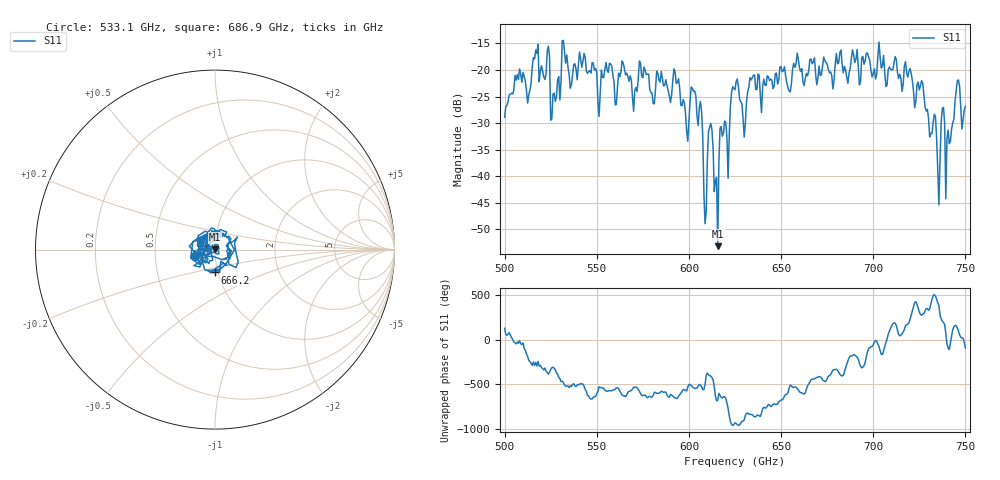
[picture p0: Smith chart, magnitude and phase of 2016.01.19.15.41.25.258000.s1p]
!Created with skrf (http://scikit-rf.org).
# GHz S RI R 50.0
!freq ReS11 ImS11
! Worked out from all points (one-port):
!   401 points, 500 GHz to 750 GHz, reference 50 ohm
!   lowest |S11| = -53.2 dB at 615.6 GHz (marker M1), VSWR 1.00, Z = 50.2 + j0.14 ohm
!   |S11| at or under -10 dB: start of sweep to end of sweep
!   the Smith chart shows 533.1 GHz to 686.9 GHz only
!   S11 on the Smith chart (normalised r, x): 533.1 GHz: 0.80, -0.06; 666.2 GHz: 0.97, -0.25; 686.9 GHz: 0.84, +0.06
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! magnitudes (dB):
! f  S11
! 500 GHz  -28.9
! 513.1 GHz  -24.7
! 516.9 GHz  -16.2
! 523.1 GHz  -16.4
! 526.2 GHz  -24.6
! 531.2 GHz  -14.5
! 533.1 GHz  -18.7
! 562.5 GHz  -21.3
! 593.8 GHz  -22.3
! 598.8 GHz  -31.4
! 602.5 GHz  -24.0
! 606.2 GHz  -25.9
! 608.8 GHz  -49.0
! 611.9 GHz  -30.1
! 615.6 GHz  -53.2
! 625 GHz  -23.7
! 630 GHz  -32.6
! 634.4 GHz  -21.4
! 656.2 GHz  -19.8
! 666.2 GHz  -17.9
! 686.9 GHz  -20.6
! 687.5 GHz  -19.7
! 718.8 GHz  -21.3
! 735.6 GHz  -45.4
! 737.5 GHz  -27.2
! 740.6 GHz  -31.3
! 745.6 GHz  -22.0
! 750 GHz  -26.8
